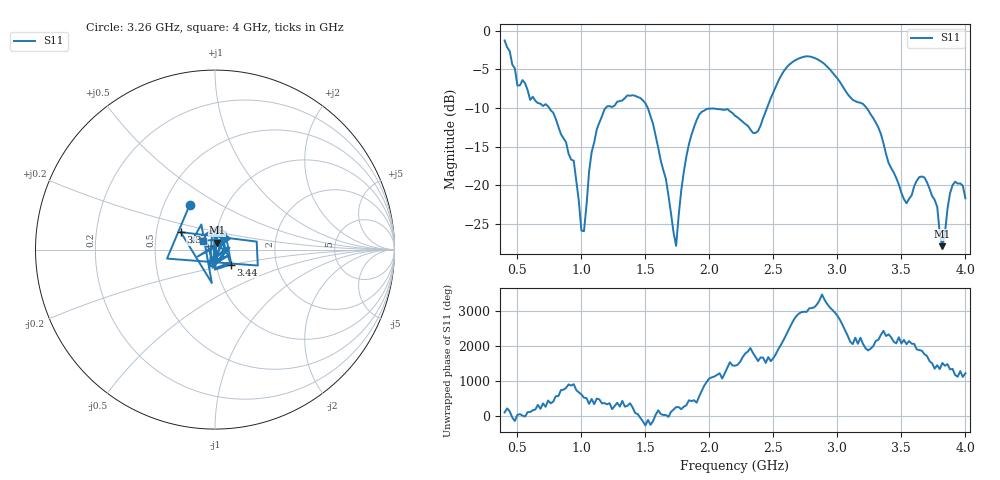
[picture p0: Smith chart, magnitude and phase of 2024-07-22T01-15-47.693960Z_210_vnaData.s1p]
!Created with skrf (http://scikit-rf.org).
# Hz S RI R 50.0
!freq ReS11 ImS11
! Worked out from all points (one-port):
!   181 points, 400 MHz to 4 GHz, reference 50 ohm
!   lowest |S11| = -27.9 dB at 3.82 GHz (marker M1), VSWR 1.08, Z = 51 + j3.97 ohm
!   |S11| at or under -10 dB: 748.6 MHz to 1.19 GHz (441 MHz wide, 45.5 % of centre); 1.518 GHz to 2.45 GHz (931.4 MHz wide, 46.9 % of centre); 3.228 GHz to end of sweep
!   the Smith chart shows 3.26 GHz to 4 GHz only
!   S11 on the Smith chart (normalised r, x): 3.26 GHz: 0.67, +0.37; 3.34 GHz: 0.67, +0.14; 3.44 GHz: 1.18, -0.20; 4 GHz: 0.87, +0.09
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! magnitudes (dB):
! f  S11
! 400 MHz  -1.3
! 500 MHz  -7.1
! 860 MHz  -13.9
! 940 MHz  -16.8
! 1.02 GHz  -25.9
! 1.06 GHz  -18.2
! 1.12 GHz  -12.8
! 1.3 GHz  -9.1
! 1.5 GHz  -9.4
! 1.66 GHz  -19.2
! 1.74 GHz  -27.8
! 1.76 GHz  -23.9
! 1.82 GHz  -16.3
! 1.92 GHz  -10.9
! 2.2 GHz  -11.0
! 2.38 GHz  -13.0
! 2.66 GHz  -3.9
! 2.88 GHz  -4.1
! 3.1 GHz  -8.6
! 3.26 GHz  -10.8
! 3.34 GHz  -13.4
! 3.44 GHz  -18.3
! 3.56 GHz  -21.7
! 3.68 GHz  -19.0
! 3.78 GHz  -22.8
! 3.82 GHz  -27.9
! 3.9 GHz  -20.0
! 4 GHz  -21.7
